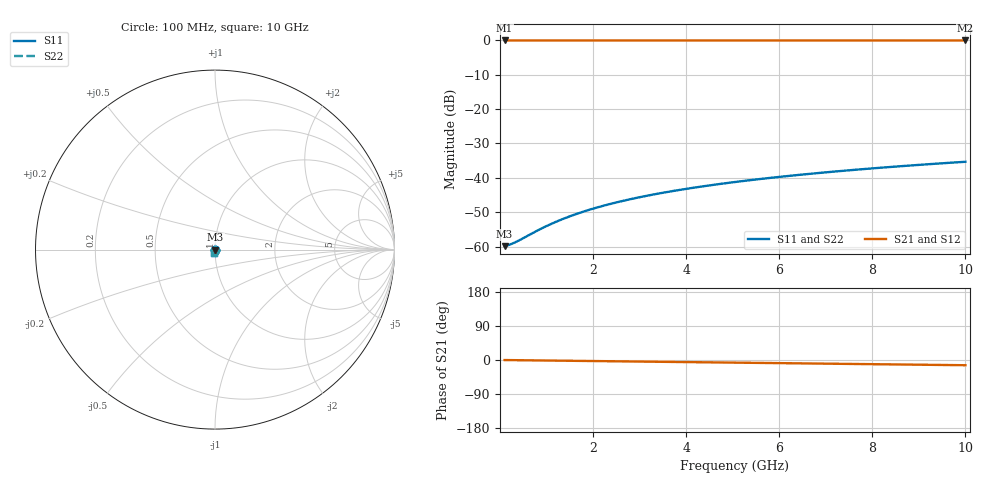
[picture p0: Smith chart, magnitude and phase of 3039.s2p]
# Hz S RI R 50.00
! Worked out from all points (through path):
!   100 points, 100 MHz to 10 GHz, reference 50 ohm
!   highest |S21| = -0.01 dB at 100 MHz (marker M1); lowest = 0.0 dB at 10 GHz (marker M2)
!   group delay of S21, straight-line fit = 3.83 ps
!   lowest |S11| = -59.9 dB at 100 MHz (marker M3), VSWR 1.00, Z = 50.1 - j0.0173 ohm
!   |S11| at or under -10 dB: start of sweep to end of sweep
!   |S22| runs from -59.9 to -35.3 dB; largest |S21 - S12| = 0
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1e8  0.000998 -0.000173  0.999 -0.0024  0.999 -0.0024  0.000998 -0.000173
2e8  0.001 -0.000345  0.999 -0.00479  0.999 -0.00479  0.001 -0.000345
3e8  0.001 -0.000518  0.999 -0.00719  0.999 -0.00719  0.001 -0.000518
4e8  0.001 -0.000691  0.9989 -0.00958  0.9989 -0.00958  0.001 -0.000691
9e8  0.000986 -0.00155  0.9987 -0.0216  0.9987 -0.0216  0.000986 -0.00155
1.2e9  0.000963 -0.00207  0.9985 -0.0287  0.9985 -0.0287  0.000963 -0.00207
1.5e9  0.000931 -0.00259  0.9983 -0.0359  0.9983 -0.0359  0.000931 -0.00259
1.8e9  0.000892 -0.00311  0.998 -0.0431  0.998 -0.0431  0.000892 -0.00311
2.1e9  0.000845 -0.00363  0.9976 -0.0503  0.9976 -0.0503  0.000845 -0.00363
2.5e9  0.00077 -0.00432  0.9971 -0.0599  0.9971 -0.0599  0.00077 -0.00432
2.9e9  0.000681 -0.00501  0.9965 -0.0695  0.9965 -0.0695  0.000681 -0.00501
3.4e9  0.000552 -0.00587  0.9955 -0.0814  0.9955 -0.0814  0.000552 -0.00587
3.8e9  0.000433 -0.00656  0.9947 -0.091  0.9947 -0.091  0.000433 -0.00656
4.2e9  0.000301 -0.00724  0.9938 -0.1005  0.9938 -0.1005  0.000301 -0.00724
4.6e9  0.000155 -0.00793  0.9927 -0.1101  0.9927 -0.1101  0.000155 -0.00793
5.1e9  -4.51e-05 -0.00878  0.9913 -0.122  0.9913 -0.122  -4.51e-05 -0.00878
5.9e9  -0.000409 -0.0101  0.9888 -0.1411  0.9888 -0.1411  -0.000409 -0.0101
6.7e9  -0.000825 -0.0115  0.9858 -0.1601  0.9858 -0.1601  -0.000825 -0.0115
7.5e9  -0.00129 -0.0128  0.9825 -0.1791  0.9825 -0.1791  -0.00129 -0.0128
8.4e9  -0.00188 -0.0143  0.9783 -0.2004  0.9783 -0.2004  -0.00188 -0.0143
9.2e9  -0.00246 -0.0156  0.9742 -0.2193  0.9742 -0.2193  -0.00246 -0.0156
1e10  -0.00308 -0.0169  0.9698 -0.2381  0.9698 -0.2381  -0.00308 -0.0169
